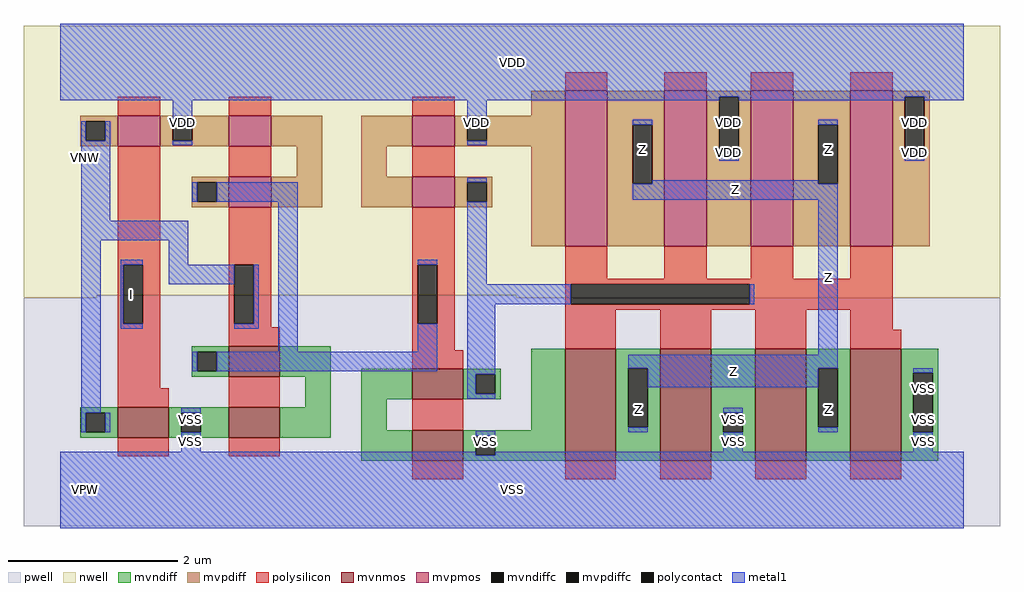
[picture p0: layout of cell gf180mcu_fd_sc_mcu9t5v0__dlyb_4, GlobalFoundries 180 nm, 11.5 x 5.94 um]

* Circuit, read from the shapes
.subckt gf180mcu_fd_sc_mcu9t5v0__dlyb_4 I Z VDD VNW VPW VSS
XM1 VSS I n1 VPW nfet_06v0 w=0.36u l=0.6u
XM2 n2 n1 VSS VPW nfet_06v0 w=0.36u l=0.6u
XM3 n2 n1 n3 VPW nfet_06v0 w=0.36u l=0.6u
XM4 VSS n3 n4 VPW nfet_06v0 w=0.36u l=0.6u
XM5 n5 n3 n4 VPW nfet_06v0 w=0.36u l=0.6u
XM6 Z n5 VSS VPW nfet_06v0 w=1.32u l=0.6u m=4
XM7 VDD I n1 VNW pfet_06v0 w=0.36u l=0.5u
XM8 n6 n1 n3 VNW pfet_06v0 w=0.36u l=0.5u
XM9 n6 n1 VDD VNW pfet_06v0 w=0.36u l=0.5u
XM10 n5 n3 n7 VNW pfet_06v0 w=0.36u l=0.5u
XM11 VDD n3 n7 VNW pfet_06v0 w=0.36u l=0.5u
XM12 Z n5 VDD VNW pfet_06v0 w=1.83u l=0.5u m=4
.ends

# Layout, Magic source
magic
tech gf180mcuD
magscale 1 10
<< nwell >>
rect -86 459 2214 1094
rect -86 453 86 459
rect 1074 453 2214 459
<< pwell >>
rect 86 453 1074 459
rect -86 -86 2214 453
<< mvnmos >>
rect 397 267 517 339
rect 135 123 255 195
rect 397 123 517 195
rect 829 213 949 285
rect 829 69 949 141
rect 1189 69 1309 333
rect 1413 69 1533 333
rect 1637 69 1757 333
rect 1861 69 1981 333
<< mvpmos >>
rect 135 810 235 882
rect 397 810 497 882
rect 397 666 497 738
rect 829 810 929 882
rect 829 666 929 738
rect 1189 574 1289 940
rect 1423 574 1523 940
rect 1627 574 1727 940
rect 1861 574 1961 940
<< mvndiff >>
rect 309 326 397 339
rect 309 280 322 326
rect 368 280 397 326
rect 309 267 397 280
rect 517 267 637 339
rect 577 195 637 267
rect 47 182 135 195
rect 47 136 60 182
rect 106 136 135 182
rect 47 123 135 136
rect 255 182 397 195
rect 255 136 284 182
rect 330 136 397 182
rect 255 123 397 136
rect 517 123 637 195
rect 709 213 829 285
rect 949 272 1037 285
rect 949 226 978 272
rect 1024 226 1037 272
rect 949 213 1037 226
rect 709 141 769 213
rect 1109 141 1189 333
rect 709 69 829 141
rect 949 128 1189 141
rect 949 82 978 128
rect 1024 82 1189 128
rect 949 69 1189 82
rect 1309 287 1413 333
rect 1309 147 1338 287
rect 1384 147 1413 287
rect 1309 69 1413 147
rect 1533 182 1637 333
rect 1533 136 1562 182
rect 1608 136 1637 182
rect 1533 69 1637 136
rect 1757 287 1861 333
rect 1757 147 1786 287
rect 1832 147 1861 287
rect 1757 69 1861 147
rect 1981 276 2069 333
rect 1981 136 2010 276
rect 2056 136 2069 276
rect 1981 69 2069 136
<< mvpdiff >>
rect 1109 882 1189 940
rect 47 869 135 882
rect 47 823 60 869
rect 106 823 135 869
rect 47 810 135 823
rect 235 869 397 882
rect 235 823 264 869
rect 310 823 397 869
rect 235 810 397 823
rect 497 810 617 882
rect 557 738 617 810
rect 309 725 397 738
rect 309 679 322 725
rect 368 679 397 725
rect 309 666 397 679
rect 497 666 617 738
rect 709 810 829 882
rect 929 869 1189 882
rect 929 823 958 869
rect 1004 823 1189 869
rect 929 810 1189 823
rect 709 738 769 810
rect 709 666 829 738
rect 929 725 1017 738
rect 929 679 958 725
rect 1004 679 1017 725
rect 929 666 1017 679
rect 1109 574 1189 810
rect 1289 861 1423 940
rect 1289 721 1348 861
rect 1394 721 1423 861
rect 1289 574 1423 721
rect 1523 927 1627 940
rect 1523 787 1552 927
rect 1598 787 1627 927
rect 1523 574 1627 787
rect 1727 861 1861 940
rect 1727 721 1786 861
rect 1832 721 1861 861
rect 1727 574 1861 721
rect 1961 927 2049 940
rect 1961 787 1990 927
rect 2036 787 2049 927
rect 1961 574 2049 787
<< mvndiffc >>
rect 322 280 368 326
rect 60 136 106 182
rect 284 136 330 182
rect 978 226 1024 272
rect 978 82 1024 128
rect 1338 147 1384 287
rect 1562 136 1608 182
rect 1786 147 1832 287
rect 2010 136 2056 276
<< mvpdiffc >>
rect 60 823 106 869
rect 264 823 310 869
rect 322 679 368 725
rect 958 823 1004 869
rect 958 679 1004 725
rect 1348 721 1394 861
rect 1552 787 1598 927
rect 1786 721 1832 861
rect 1990 787 2036 927
<< polysilicon >>
rect 1189 940 1289 984
rect 1423 940 1523 984
rect 1627 940 1727 984
rect 1861 940 1961 984
rect 135 882 235 926
rect 397 882 497 926
rect 829 882 929 926
rect 135 531 235 810
rect 397 738 497 810
rect 829 738 929 810
rect 135 391 148 531
rect 194 391 235 531
rect 135 239 235 391
rect 397 531 497 666
rect 397 391 410 531
rect 456 391 497 531
rect 397 383 497 391
rect 829 531 929 666
rect 829 391 842 531
rect 888 391 929 531
rect 397 339 517 383
rect 829 329 929 391
rect 1189 497 1289 574
rect 1423 497 1523 574
rect 1627 497 1727 574
rect 1861 497 1961 574
rect 1189 484 1961 497
rect 1189 438 1202 484
rect 1624 438 1961 484
rect 1189 425 1961 438
rect 1189 333 1309 425
rect 1413 333 1533 425
rect 1637 333 1757 425
rect 1861 377 1961 425
rect 1861 333 1981 377
rect 829 285 949 329
rect 135 195 255 239
rect 397 195 517 267
rect 829 141 949 213
rect 135 79 255 123
rect 397 79 517 123
rect 829 25 949 69
rect 1189 25 1309 69
rect 1413 25 1533 69
rect 1637 25 1757 69
rect 1861 25 1981 69
<< polycontact >>
rect 148 391 194 531
rect 410 391 456 531
rect 842 391 888 531
rect 1202 438 1624 484
<< metal1 >>
rect 0 927 2128 1098
rect 0 918 1552 927
rect 264 869 310 918
rect 49 823 60 869
rect 106 823 117 869
rect 49 634 117 823
rect 264 812 310 823
rect 958 869 1004 918
rect 958 812 1004 823
rect 1348 861 1394 872
rect 958 725 1004 736
rect 311 679 322 725
rect 368 679 559 725
rect 49 588 301 634
rect 49 182 95 588
rect 142 531 194 542
rect 142 391 148 531
rect 255 531 301 588
rect 255 485 410 531
rect 142 380 194 391
rect 456 391 467 531
rect 410 380 467 391
rect 513 326 559 679
rect 1598 918 1990 927
rect 1552 776 1598 787
rect 1786 861 1832 872
rect 1394 721 1786 730
rect 2036 918 2128 927
rect 1990 776 2036 787
rect 1348 684 1832 721
rect 842 531 888 542
rect 842 326 888 391
rect 311 280 322 326
rect 368 280 888 326
rect 958 484 1004 679
rect 958 438 1202 484
rect 1624 438 1635 484
rect 958 272 1024 438
rect 1786 318 1832 684
rect 958 226 978 272
rect 958 215 1024 226
rect 1338 287 1832 318
rect 284 182 330 193
rect 49 136 60 182
rect 106 136 117 182
rect 1384 242 1786 287
rect 284 90 330 136
rect 978 128 1024 139
rect 1338 136 1384 147
rect 1562 182 1608 193
rect 1786 136 1832 147
rect 2010 276 2056 287
rect 0 82 978 90
rect 1562 90 1608 136
rect 2010 90 2056 136
rect 1024 82 2128 90
rect 0 -90 2128 82
<< labels >>
flabel metal1 s 142 380 194 542 0 FreeSans 200 0 0 0 I
port 1 nsew default input
flabel metal1 s 0 918 2128 1098 0 FreeSans 200 0 0 0 VDD
port 3 nsew power bidirectional abutment
flabel metal1 s 2010 193 2056 287 0 FreeSans 200 0 0 0 VSS
port 6 nsew ground bidirectional abutment
flabel metal1 s 1786 730 1832 872 0 FreeSans 200 0 0 0 Z
port 2 nsew default output
flabel nwell s 10 734 110 834 0 FreeSans 400 0 0 0 VNW
port 4 nsew power bidirectional
flabel pwell s 10 -50 110 50 0 FreeSans 400 0 0 0 VPW
port 5 nsew ground bidirectional
rlabel metal1 s 1348 730 1394 872 1 Z
port 2 nsew default output
rlabel metal1 s 1348 684 1832 730 1 Z
port 2 nsew default output
rlabel metal1 s 1786 318 1832 684 1 Z
port 2 nsew default output
rlabel metal1 s 1338 242 1832 318 1 Z
port 2 nsew default output
rlabel metal1 s 1786 136 1832 242 1 Z
port 2 nsew default output
rlabel metal1 s 1338 136 1384 242 1 Z
port 2 nsew default output
rlabel metal1 s 1990 812 2036 918 1 VDD
port 3 nsew power bidirectional abutment
rlabel metal1 s 1552 812 1598 918 1 VDD
port 3 nsew power bidirectional abutment
rlabel metal1 s 958 812 1004 918 1 VDD
port 3 nsew power bidirectional abutment
rlabel metal1 s 264 812 310 918 1 VDD
port 3 nsew power bidirectional abutment
rlabel metal1 s 1990 776 2036 812 1 VDD
port 3 nsew power bidirectional abutment
rlabel metal1 s 1552 776 1598 812 1 VDD
port 3 nsew power bidirectional abutment
rlabel metal1 s 2010 139 2056 193 1 VSS
port 6 nsew ground bidirectional abutment
rlabel metal1 s 1562 139 1608 193 1 VSS
port 6 nsew ground bidirectional abutment
rlabel metal1 s 284 139 330 193 1 VSS
port 6 nsew ground bidirectional abutment
rlabel metal1 s 2010 90 2056 139 1 VSS
port 6 nsew ground bidirectional abutment
rlabel metal1 s 1562 90 1608 139 1 VSS
port 6 nsew ground bidirectional abutment
rlabel metal1 s 978 90 1024 139 1 VSS
port 6 nsew ground bidirectional abutment
rlabel metal1 s 284 90 330 139 1 VSS
port 6 nsew ground bidirectional abutment
rlabel metal1 s 0 -90 2128 90 1 VSS
port 6 nsew ground bidirectional abutment
<< properties >>
string FIXED_BBOX 0 0 2128 1008
string GDS_END 722006
string GDS_FILE $PDKPATH/libs.ref/gf180mcu_fd_sc_mcu9t5v0/gds/gf180mcu_fd_sc_mcu9t5v0.gds
string GDS_START 716544
string LEFclass core
string LEFsite GF018hv5v_green_sc9
string LEFsymmetry X Y
<< end >>
